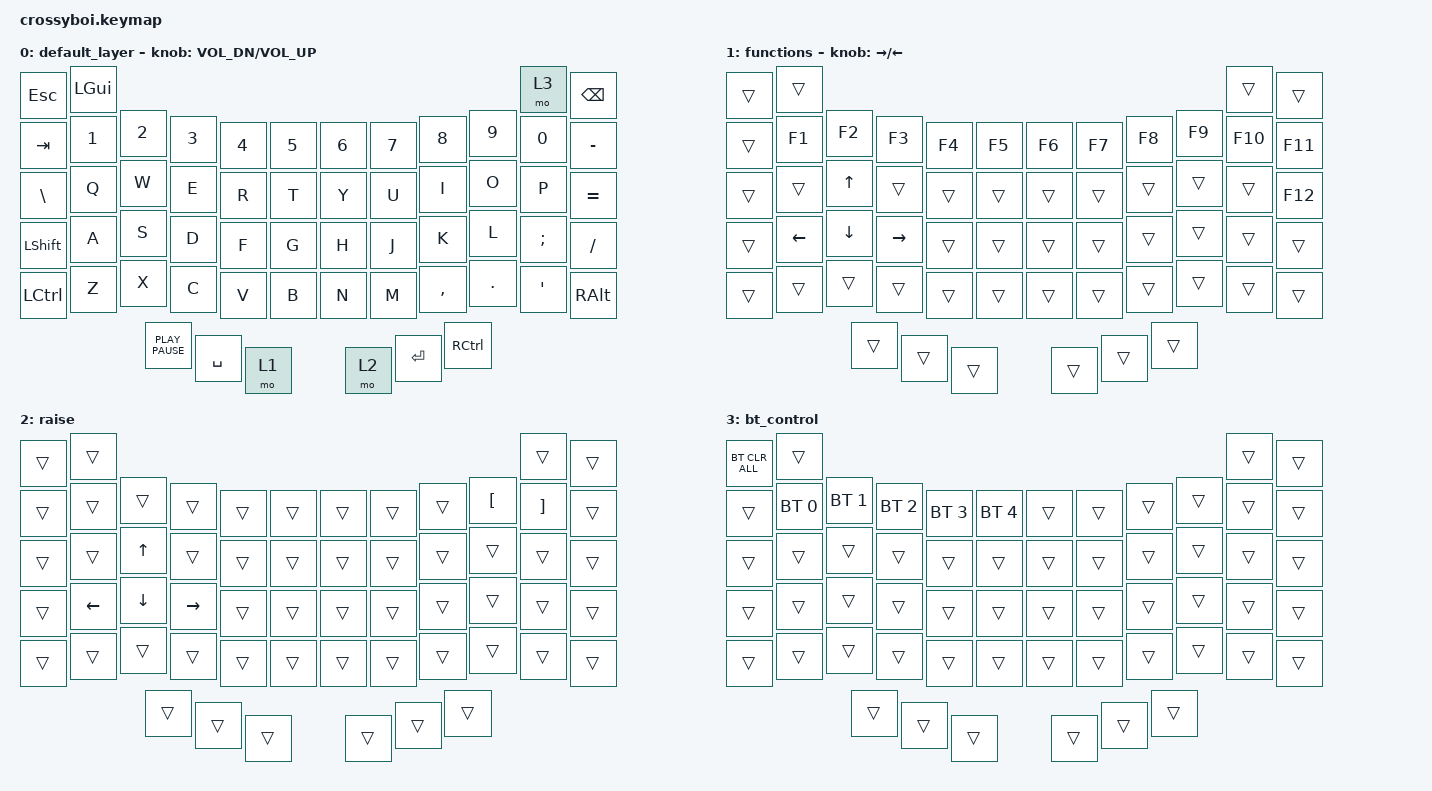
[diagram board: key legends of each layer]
/*
 * Copyright (c) 2022 The ZMK Contributors
 *
 * SPDX-License-Identifier: MIT
 */

#include <behaviors.dtsi>
#include <dt-bindings/zmk/keys.h>
#include <dt-bindings/zmk/bt.h>
#include <dt-bindings/zmk/rgb.h>
#include <dt-bindings/zmk/ext_power.h>
#include <dt-bindings/zmk/mouse.h>

/ {
        keymap {
                compatible = "zmk,keymap";

        default_layer {
                    bindings = <
        &kp ESC         &kp LEFT_GUI                                                                                      &mo 3     &kp BACKSPACE
        &kp TAB         &kp N1        &kp N2  &kp N3            &kp N4     &kp N5  &kp N6  &kp N7     &kp N8     &kp N9   &kp N0    &kp MINUS
        &kp BACKSLASH   &kp Q         &kp W   &kp E             &kp R      &kp T   &kp Y   &kp U      &kp I      &kp O    &kp P     &kp EQUAL
        &kp LEFT_SHIFT  &kp A         &kp S   &kp D             &kp F      &kp G   &kp H   &kp J      &kp K      &kp L    &kp SEMI  &kp FSLH
        &kp LCTRL       &kp Z         &kp X   &kp C             &kp V      &kp B   &kp N   &kp M      &kp COMMA  &kp DOT  &kp APOS  &kp RALT
                                              &kp K_PLAY_PAUSE  &kp SPACE  &mo 1   &mo 2   &kp ENTER  &kp RCTRL
                    >;
        
                    sensor-bindings =<&inc_dec_kp C_VOL_DN C_VOL_UP>;
                };
        
                functions {
                    bindings = <
        &trans  &trans                                                                             &trans   &trans
        &trans  &kp F1    &kp F2        &kp F3     &kp F4  &kp F5  &kp F6  &kp F7  &kp F8  &kp F9  &kp F10  &kp F11
        &trans  &trans    &kp UP_ARROW  &trans     &trans  &trans  &trans  &trans  &trans  &trans  &trans   &kp F12
        &trans  &kp LEFT  &kp DOWN      &kp RIGHT  &trans  &trans  &trans  &trans  &trans  &trans  &trans   &trans
        &trans  &trans    &trans        &trans     &trans  &trans  &trans  &trans  &trans  &trans  &trans   &trans
                                        &trans     &trans  &trans  &trans  &trans  &trans
                    >;
        
                    sensor-bindings = <&inc_dec_kp RIGHT LEFT>;
                };
        
                raise {
                    bindings = <
        &trans  &trans                                                                                               &trans             &trans
        &trans  &trans          &trans          &trans     &trans  &trans  &trans  &trans  &trans  &kp LEFT_BRACKET  &kp RIGHT_BRACKET  &trans
        &trans  &trans          &kp UP_ARROW    &trans     &trans  &trans  &trans  &trans  &trans  &trans            &trans             &trans
        &trans  &kp LEFT_ARROW  &kp DOWN_ARROW  &kp RIGHT  &trans  &trans  &trans  &trans  &trans  &trans            &trans             &trans
        &trans  &trans          &trans          &trans     &trans  &trans  &trans  &trans  &trans  &trans            &trans             &trans
                                                &trans     &trans  &trans  &trans  &trans  &trans
                    >;
                };
        
                bt_control {
                    bindings = <
        &bt BT_CLR_ALL  &trans                                                                                                &trans  &trans
        &trans          &bt BT_SEL 0  &bt BT_SEL 1  &bt BT_SEL 2  &bt BT_SEL 3  &bt BT_SEL 4  &trans  &trans  &trans  &trans  &trans  &trans
        &trans          &trans        &trans        &trans        &trans        &trans        &trans  &trans  &trans  &trans  &trans  &trans
        &trans          &trans        &trans        &trans        &trans        &trans        &trans  &trans  &trans  &trans  &trans  &trans
        &trans          &trans        &trans        &trans        &trans        &trans        &trans  &trans  &trans  &trans  &trans  &trans
                                                    &trans        &trans        &trans        &trans  &trans  &trans
                    >;
                };
        };
};

